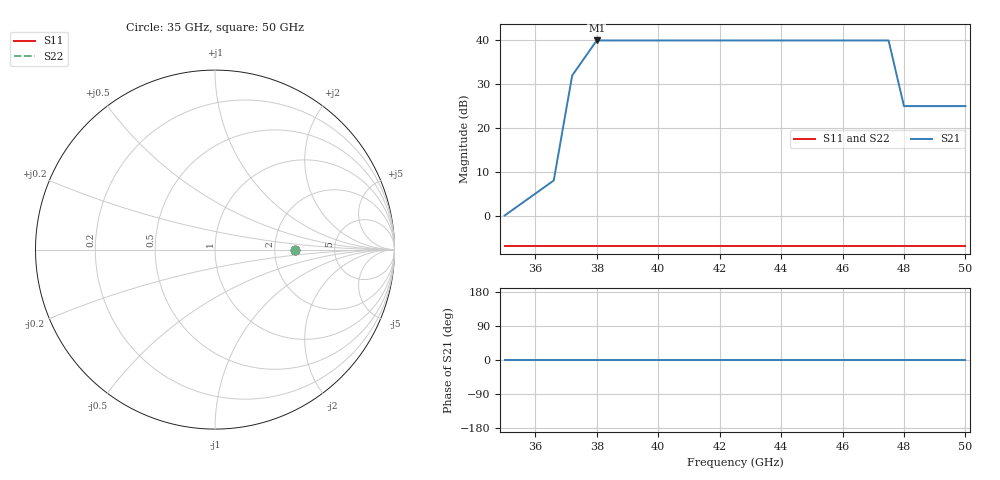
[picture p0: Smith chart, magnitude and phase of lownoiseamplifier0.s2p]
# Ghz S DB R 50
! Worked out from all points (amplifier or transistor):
!   151 points, 35 GHz to 50 GHz, reference 50 ohm
!   highest |S21| = 40.0 dB at 38 GHz (marker M1)
!   |S21| within 3 dB of that: 37.7 GHz to 47.6 GHz (9.9 GHz wide, 23.2 % of centre)
!   unconditionally stable (mu >= 1): start of sweep to end of sweep
!   at 37.5 GHz: K = 569723605005092864.00, MAG = -120.0 dB, |S12| = - dB
!   at 42.5 GHz: K = 320379127030786944.00, MAG = -120.0 dB, |S12| = - dB
!   at 50 GHz: K = 1801624228578199040.00, MAG = -120.0 dB, |S12| = - dB
!   lowest NFmin = 0.20 dB at 39.1 GHz
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35  -7.00 0.0  0.00 0.0  -9999.00 0.0  -7.00 0.0
36.6  -7.00 0.0  8.00 0.0  -9999.00 0.0  -7.00 0.0
36.7  -7.00 0.0  12.00 0.0  -9999.00 0.0  -7.00 0.0
36.8  -7.00 0.0  16.00 0.0  -9999.00 0.0  -7.00 0.0
36.9  -7.00 0.0  20.00 0.0  -9999.00 0.0  -7.00 0.0
37  -7.00 0.0  24.00 0.0  -9999.00 0.0  -7.00 0.0
37.1  -7.00 0.0  28.00 0.0  -9999.00 0.0  -7.00 0.0
37.2  -7.00 0.0  32.00 0.0  -9999.00 0.0  -7.00 0.0
37.5  -7.00 0.0  35.00 0.0  -9999.00 0.0  -7.00 0.0
37.7  -7.00 0.0  37.00 0.0  -9999.00 0.0  -7.00 0.0
37.8  -7.00 0.0  38.00 0.0  -9999.00 0.0  -7.00 0.0
38  -7.00 0.0  40.00 0.0  -9999.00 0.0  -7.00 0.0
40  -7.00 0.0  40.00 0.0  -9999.00 0.0  -7.00 0.0
42.5  -7.00 0.0  40.00 0.0  -9999.00 0.0  -7.00 0.0
45  -7.00 0.0  40.00 0.0  -9999.00 0.0  -7.00 0.0
47.5  -7.00 0.0  40.00 0.0  -9999.00 0.0  -7.00 0.0
47.6  -7.00 0.0  37.00 0.0  -9999.00 0.0  -7.00 0.0
47.7  -7.00 0.0  34.00 0.0  -9999.00 0.0  -7.00 0.0
47.8  -7.00 0.0  31.00 0.0  -9999.00 0.0  -7.00 0.0
47.9  -7.00 0.0  28.00 0.0  -9999.00 0.0  -7.00 0.0
48  -7.00 0.0  25.00 0.0  -9999.00 0.0  -7.00 0.0
50  -7.00 0.0  25.00 0.0  -9999.00 0.0  -7.00 0.0
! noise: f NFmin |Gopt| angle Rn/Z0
35  0.7  0  0  0
36.6  0.5  0  0  0
38.3  0.3  0  0  0
40  0.2  0  0  0
41.6  0.2  0  0  0
43.3  0.2  0  0  0
45  0.2  0  0  0
46.6  0.2  0  0  0
48.3  0.2  0  0  0
50  0.2  0  0  0
